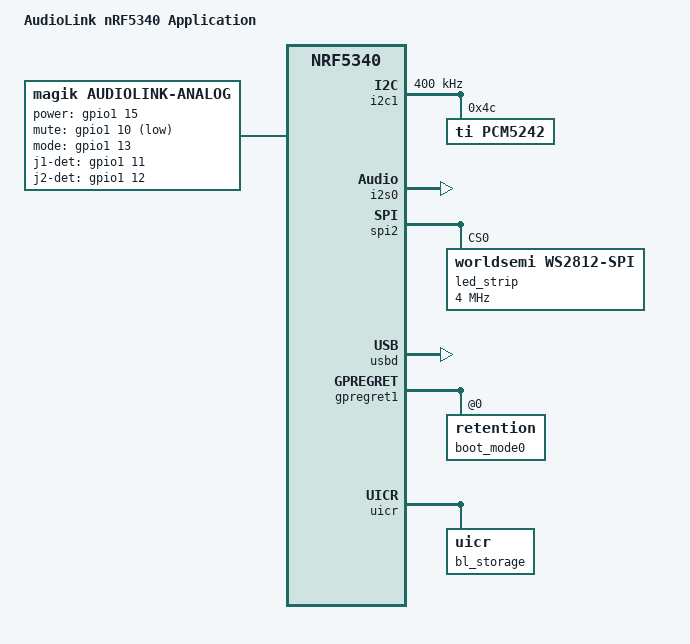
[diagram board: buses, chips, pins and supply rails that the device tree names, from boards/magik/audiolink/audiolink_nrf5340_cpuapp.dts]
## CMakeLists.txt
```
cmake_minimum_required(VERSION 3.20.0)

find_package(Zephyr REQUIRED HINTS $ENV{ZEPHYR_BASE})
project(audiolink)

target_sources(app PRIVATE
  src/audio_out.c
  src/control.c
  src/dac.c
  src/eq.c
  src/lc3_rx.c
  src/le_audio.c
  src/leds.c
  src/main.c
  src/test_signal.c
  src/usb_audio.c
)
```

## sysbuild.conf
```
SB_CONFIG_NETCORE_IPC_RADIO=y
SB_CONFIG_NETCORE_IPC_RADIO_BT_HCI_IPC=y

# MCUboot updates both cores. The network core image is staged in slot3 and
# copied over by MCUboot, which only works in overwrite mode, so there is no
# rollback to the previous image.
SB_CONFIG_BOOTLOADER_MCUBOOT=y
SB_CONFIG_MCUBOOT_MODE_OVERWRITE_ONLY=y
SB_CONFIG_SECURE_BOOT_NETCORE=y
SB_CONFIG_NETCORE_APP_UPDATE=y
SB_CONFIG_MCUBOOT_NRF53_MULTI_IMAGE_UPDATE=y

# Keys are not in git, see `just keys`
SB_CONFIG_BOOT_SIGNATURE_TYPE_ECDSA_P256=y
SB_CONFIG_BOOT_SIGNATURE_KEY_FILE="${APP_DIR}/keys/mcuboot-p256.pem"
SB_CONFIG_SECURE_BOOT_SIGNING_KEY_FILE="keys/b0n-p256.pem"
```

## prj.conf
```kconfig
CONFIG_GPIO=y
CONFIG_I2C=y
CONFIG_I2S=y
CONFIG_LED_STRIP=y
CONFIG_RING_BUFFER=y

CONFIG_MAIN_STACK_SIZE=2048

# The board has no UART, logs go out over SWD (J4)
CONFIG_UART_CONSOLE=n
CONFIG_USE_SEGGER_RTT=y
CONFIG_CONSOLE=y
CONFIG_RTT_CONSOLE=y
CONFIG_LOG=y
CONFIG_LOG_BACKEND_RTT=y
CONFIG_SEGGER_RTT_BUFFER_SIZE_UP=4096

CONFIG_HWINFO=y
CONFIG_USB_DEVICE_STACK_NEXT=y
CONFIG_USBD_AUDIO2_CLASS=y
CONFIG_USBD_LOG_LEVEL_WRN=y
CONFIG_UDC_DRIVER_LOG_LEVEL_WRN=y

CONFIG_FPU=y
CONFIG_FPU_SHARING=y
CONFIG_LIBLC3=y

# Bonds survive a power cycle
CONFIG_FLASH=y
CONFIG_FLASH_MAP=y
CONFIG_NVS=y
CONFIG_SETTINGS=y
CONFIG_BT_SETTINGS=y

CONFIG_BT=y
CONFIG_BT_DEVICE_NAME="AudioLink"
CONFIG_BT_PERIPHERAL=y
CONFIG_BT_OBSERVER=y
CONFIG_BT_EXT_ADV=y
CONFIG_BT_PER_ADV_SYNC=y
CONFIG_BT_PER_ADV_SYNC_TRANSFER_RECEIVER=y
CONFIG_BT_ISO_PERIPHERAL=y
CONFIG_BT_ISO_SYNC_RECEIVER=y
CONFIG_BT_SMP=y
CONFIG_BT_KEYS_OVERWRITE_OLDEST=y
# There is no UI to delete a bond, so a phone that forgot us must be able to pair again
CONFIG_BT_SMP_ALLOW_UNAUTH_OVERWRITE=y
CONFIG_BT_GATT_DYNAMIC_DB=y
CONFIG_BT_GATT_CLIENT=y
# Long writes of ASE configs with 64-byte codec data and metadata
CONFIG_BT_ATT_PREPARE_COUNT=5
CONFIG_BT_BUF_EVT_RX_SIZE=255
# Sized for MCUmgr uploads with the largest ATT MTU
CONFIG_BT_BUF_ACL_RX_SIZE=502
CONFIG_BT_BUF_ACL_TX_SIZE=502
CONFIG_BT_L2CAP_TX_MTU=498
# Phones rarely ask for 2M themselves, it roughly doubles the firmware upload speed
CONFIG_BT_AUTO_PHY_PERIPHERAL_2M=y
CONFIG_BT_BUF_CMD_TX_SIZE=255
# Same as BT_BAP_CONN_PARAM_RELAXED
CONFIG_BT_GAP_AUTO_UPDATE_CONN_PARAMS=n
CONFIG_BT_PERIPHERAL_PREF_MIN_INT=50
CONFIG_BT_PERIPHERAL_PREF_MAX_INT=70
CONFIG_BT_PERIPHERAL_PREF_LATENCY=0
CONFIG_BT_PERIPHERAL_PREF_TIMEOUT=400

CONFIG_UTF8=y
CONFIG_BT_AUDIO=y
CONFIG_BT_PAC_SNK=y
CONFIG_BT_PAC_SNK_LOC=y
CONFIG_BT_BAP_UNICAST_SERVER=y
CONFIG_BT_ASCS=y
CONFIG_BT_ASCS_MAX_ASE_SNK_COUNT=2
CONFIG_BT_ASCS_MAX_ASE_SRC_COUNT=0
CONFIG_BT_BAP_BROADCAST_SINK=y
CONFIG_BT_BAP_SCAN_DELEGATOR=y
CONFIG_BT_BAP_BROADCAST_SNK_STREAM_COUNT=2
CONFIG_BT_BAP_BROADCAST_SNK_SUBGROUP_COUNT=2
CONFIG_BT_BAP_BASS_MAX_SUBGROUPS=2
CONFIG_BT_VCP_VOL_REND=y
CONFIG_BT_ISO_MAX_CHAN=2
# 4 SDUs in flight per stream, the LC3 decoder holds on to them
CONFIG_BT_ISO_RX_BUF_COUNT=8
CONFIG_BT_AUDIO_CODEC_CFG_MAX_METADATA_SIZE=64
CONFIG_BT_AUDIO_CODEC_CFG_MAX_DATA_SIZE=64
CONFIG_BT_AUDIO_CODEC_CAP_MAX_METADATA_SIZE=64
CONFIG_BT_AUDIO_CODEC_CAP_MAX_DATA_SIZE=64

# Firmware updates over Bluetooth (SMP), only from a paired phone
CONFIG_MCUMGR=y
CONFIG_NET_BUF=y
CONFIG_ZCBOR=y
CONFIG_CRC=y
CONFIG_STREAM_FLASH=y
CONFIG_IMG_MANAGER=y
CONFIG_MCUMGR_GRP_IMG=y
CONFIG_MCUMGR_GRP_OS=y
CONFIG_MCUMGR_TRANSPORT_BT=y
CONFIG_MCUMGR_TRANSPORT_BT_PERM_RW_ENCRYPT=y
CONFIG_MCUMGR_TRANSPORT_BT_CONN_PARAM_CONTROL=y
CONFIG_MCUMGR_TRANSPORT_BT_REASSEMBLY=y
CONFIG_MCUMGR_TRANSPORT_NETBUF_SIZE=2475
# The app keeps NETBUF_COUNT - 2 upload requests in flight
CONFIG_MCUMGR_TRANSPORT_NETBUF_COUNT=6
# Erasing the whole slot on the first upload request stalls the transfer for seconds
CONFIG_IMG_ERASE_PROGRESSIVELY=y
CONFIG_MCUMGR_GRP_OS_MCUMGR_PARAMS=y
CONFIG_MCUMGR_TRANSPORT_WORKQUEUE_STACK_SIZE=4608
CONFIG_SYSTEM_WORKQUEUE_STACK_SIZE=2304

# Firmware updates over USB, SMP on a CDC ACM serial port next to the audio function
CONFIG_SERIAL=y
CONFIG_BASE64=y
CONFIG_UART_MCUMGR=y
CONFIG_MCUMGR_TRANSPORT_UART=y
# Lets the reset command restart into the USB recovery mode of MCUboot
CONFIG_RETAINED_MEM=y
CONFIG_RETENTION=y
CONFIG_RETENTION_BOOT_MODE=y
CONFIG_MCUMGR_GRP_OS_RESET_BOOT_MODE=y
# MCUboot refuses downgrades, see sysbuild/mcuboot.conf
CONFIG_MCUBOOT_BOOTLOADER_NO_DOWNGRADE=y
```

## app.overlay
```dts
#include <zephyr/dt-bindings/usb/audio.h>

/ {
	uac2_out: usb_audio2 {
		compatible = "zephyr,uac2";
		status = "okay";
		full-speed;
		audio-function = <AUDIO_FUNCTION_CONVERTER>;

		uac_aclk: aclk {
			compatible = "zephyr,uac2-clock-source";
			clock-type = "internal-programmable";
			frequency-control = "host-programmable";
			sampling-frequencies = <48000>;
		};

		usb_in: usb_in {
			compatible = "zephyr,uac2-input-terminal";
			clock-source = <&uac_aclk>;
			terminal-type = <USB_TERMINAL_STREAMING>;
			front-left;
			front-right;
		};

		line_out: line_out {
			compatible = "zephyr,uac2-output-terminal";
			data-source = <&usb_in>;
			clock-source = <&uac_aclk>;
			terminal-type = <EXTERNAL_TERMINAL_LINE_CONNECTOR>;
		};

		as_out: as_out {
			compatible = "zephyr,uac2-audio-streaming";
			linked-terminal = <&usb_in>;
			subslot-size = <2>;
			bit-resolution = <16>;
		};
	};
};

/ {
	chosen {
		zephyr,uart-mcumgr = &cdc_acm_uart0;
	};
};

&zephyr_udc0 {
	cdc_acm_uart0: cdc_acm_uart0 {
		compatible = "zephyr,cdc-acm-uart";
	};
};
```

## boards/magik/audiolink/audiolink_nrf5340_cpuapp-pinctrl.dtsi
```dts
&pinctrl {
	i2c1_default: i2c1_default {
		group1 {
			psels = <NRF_PSEL(TWIM_SDA, 1, 2)>,
				<NRF_PSEL(TWIM_SCL, 1, 3)>;
		};
	};

	i2c1_sleep: i2c1_sleep {
		group1 {
			psels = <NRF_PSEL(TWIM_SDA, 1, 2)>,
				<NRF_PSEL(TWIM_SCL, 1, 3)>;
			low-power-enable;
		};
	};

	/* No MCK: R6 is not fitted, the PCM5242 derives its clocks from BCK. */
	i2s0_default: i2s0_default {
		group1 {
			psels = <NRF_PSEL(I2S_SCK_M, 0, 9)>,
				<NRF_PSEL(I2S_LRCK_M, 1, 4)>,
				<NRF_PSEL(I2S_SDOUT, 1, 6)>;
		};
	};

	i2s0_sleep: i2s0_sleep {
		group1 {
			psels = <NRF_PSEL(I2S_SCK_M, 0, 9)>,
				<NRF_PSEL(I2S_LRCK_M, 1, 4)>,
				<NRF_PSEL(I2S_SDOUT, 1, 6)>;
			low-power-enable;
		};
	};

	/*
	 * WS2812 data only. The SPIM still needs an SCK pin to complete transfers,
	 * so it gets P0.08, which is not connected on the board.
	 */
	spi2_default: spi2_default {
		group1 {
			psels = <NRF_PSEL(SPIM_SCK, 0, 8)>,
				<NRF_PSEL(SPIM_MOSI, 1, 14)>;
		};
	};

	spi2_sleep: spi2_sleep {
		group1 {
			psels = <NRF_PSEL(SPIM_SCK, 0, 8)>,
				<NRF_PSEL(SPIM_MOSI, 1, 14)>;
			low-power-enable;
		};
	};
};
```

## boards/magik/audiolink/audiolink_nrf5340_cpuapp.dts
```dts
/dts-v1/;
#include <nordic/nrf5340_cpuapp_qkaa.dtsi>
#include <zephyr/dt-bindings/led/led.h>
#include "audiolink_nrf5340_cpuapp-pinctrl.dtsi"

/ {
	model = "AudioLink nRF5340 Application";
	compatible = "magik,audiolink-nrf5340-cpuapp";

	chosen {
		zephyr,sram = &sram0_image;
		zephyr,flash = &flash0;
		zephyr,code-partition = &slot0_partition;
		zephyr,sram-secure-partition = &sram0_s;
		zephyr,sram-non-secure-partition = &sram0_ns;
		zephyr,bt-hci = &bt_hci_ipc0;
		zephyr,boot-mode = &boot_mode0;
	};

	/*
	 * J1/J2 detect: the NRJ6HM-1 sleeve-normal contact shorts SN to the grounded
	 * sleeve until a plug is inserted, after which R12/R13 pull it high.
	 */
	analog: analog {
		compatible = "magik,audiolink-analog";
		power-gpios = <&gpio1 15 GPIO_ACTIVE_HIGH>;
		mute-gpios = <&gpio1 10 GPIO_ACTIVE_LOW>;
		mode-gpios = <&gpio1 13 GPIO_ACTIVE_HIGH>;
		j1-det-gpios = <&gpio1 11 GPIO_ACTIVE_HIGH>;
		j2-det-gpios = <&gpio1 12 GPIO_ACTIVE_HIGH>;
	};

	aliases {
		led-strip = &led_strip;
	};
};

&vregmain {
	regulator-initial-mode = <NRF5X_REG_MODE_LDO>;
};

&vregradio {
	regulator-initial-mode = <NRF5X_REG_MODE_LDO>;
};

/* VDDH is tied to VDD, so the high voltage regulator is not used. */
&vregh {
	status = "disabled";
};

/* Y1 has its own 7 pF load capacitors (C15/C16). */
&lfxo {
	load-capacitors = "external";
};

&clock {
	hfclkaudio-frequency = <12288000>;
};

&gpiote {
	status = "okay";
};

&gpio0 {
	status = "okay";
};

&gpio1 {
	status = "okay";
};

&i2c1 {
	compatible = "nordic,nrf-twim";
	status = "okay";
	clock-frequency = <I2C_BITRATE_FAST>;
	pinctrl-0 = <&i2c1_default>;
	pinctrl-1 = <&i2c1_sleep>;
	pinctrl-names = "default", "sleep";

	/* ADR1 and ADR2 strapped low */
	pcm5242: pcm5242@4c {
		compatible = "ti,pcm5242";
		reg = <0x4c>;
	};
};

&i2s0 {
	status = "okay";
	pinctrl-0 = <&i2s0_default>;
	pinctrl-1 = <&i2s0_sleep>;
	pinctrl-names = "default", "sleep";
	clock-source = "ACLK";
};

/*
 * At 4 MHz one SPI bit is 250 ns, so each WS2812 bit is sent as a 4-bit symbol:
 * 0b1000 = 0.25 us high (zero), 0b1110 = 0.75 us high (one).
 */
&spi2 {
	compatible = "nordic,nrf-spim";
	status = "okay";
	pinctrl-0 = <&spi2_default>;
	pinctrl-1 = <&spi2_sleep>;
	pinctrl-names = "default", "sleep";

	led_strip: ws2812@0 {
		compatible = "worldsemi,ws2812-spi";
		reg = <0>;
		spi-max-frequency = <4000000>;
		chain-length = <4>;
		color-mapping = <LED_COLOR_ID_GREEN
				 LED_COLOR_ID_RED
				 LED_COLOR_ID_BLUE>;
		spi-one-frame = <0x70>;
		spi-zero-frame = <0x40>;
	};
};

zephyr_udc0: &usbd {
	compatible = "nordic,nrf-usbd";
	status = "okay";
};

/*
 * No external flash, so the network core update is staged in slot3 next to the
 * two application slots.
 */
&flash0 {
	partitions {
		ranges;
		#address-cells = <1>;
		#size-cells = <1>;

		boot_partition: partition@0 {
			compatible = "zephyr,mapped-partition";
			label = "mcuboot";
			reg = <0x00000000 DT_SIZE_K(64)>;
		};

		slot0_partition: partition@10000 {
			compatible = "zephyr,mapped-partition";
			label = "image-0";
			reg = <0x00010000 DT_SIZE_K(352)>;
		};

		slot1_partition: partition@68000 {
			compatible = "zephyr,mapped-partition";
			label = "image-1";
			reg = <0x00068000 DT_SIZE_K(352)>;
		};

		slot3_partition: partition@c0000 {
			compatible = "zephyr,mapped-partition";
			label = "image-3";
			reg = <0x000c0000 DT_SIZE_K(224)>;
		};

		storage_partition: partition@f8000 {
			compatible = "zephyr,mapped-partition";
			label = "storage";
			reg = <0x000f8000 DT_SIZE_K(32)>;
		};
	};
};

/* Survives a soft reset, so the application can tell MCUboot to stay in USB recovery mode */
&gpregret1 {
	status = "okay";

	boot_mode0: boot_mode@0 {
		compatible = "zephyr,retention";
		status = "okay";
		reg = <0x0 0x1>;
	};
};

&uicr {
	bl_storage: uicr@100 {
		reg = <0x100 0x280>;
	};
};

#include <nordic/nrf5340_sram_partition.dtsi>
#include <nordic/nrf5340_shared_sram_partition.dtsi>
```

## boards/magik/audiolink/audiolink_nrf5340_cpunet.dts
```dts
/dts-v1/;
#include <nordic/nrf5340_cpunet_qkaa.dtsi>

/ {
	model = "AudioLink nRF5340 Network";
	compatible = "magik,audiolink-nrf5340-cpunet";

	chosen {
		zephyr,bt-hci-ipc = &ipc0;
		zephyr,sram = &sram1;
		zephyr,flash = &flash1;
		zephyr,code-partition = &s0_partition;
	};
};

&gpiote {
	status = "okay";
};

/* b0n verifies and boots the controller image in s0 */
&flash1 {
	partitions {
		#address-cells = <1>;
		#size-cells = <1>;
		ranges;

		b0n_partition: partition@0 {
			compatible = "zephyr,mapped-partition";
			label = "b0n";
			reg = <0x00000000 0x8580>;
		};

		bl_storage: provision_partition: partition@8580 {
			compatible = "zephyr,mapped-partition";
			label = "b0-provision-data";
			reg = <0x00008580 0x280>;
		};

		s0_partition: partition@8800 {
			compatible = "zephyr,mapped-partition";
			label = "image-0";
			reg = <0x00008800 DT_SIZE_K(222)>;
		};
	};
};

#include <nordic/nrf5340_shared_sram_partition.dtsi>
```

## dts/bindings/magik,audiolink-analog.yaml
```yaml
description: AudioLink analog output stage control and jack detect lines

compatible: "magik,audiolink-analog"

properties:
  power-gpios:
    type: phandle-array
    required: true
    description: Enables the +/-5V_A and 3V3_A rails

  mute-gpios:
    type: phandle-array
    required: true
    description: PCM5242 XSMT soft mute

  mode-gpios:
    type: phandle-array
    required: true
    description: |
      DG419 select. Inactive routes OUTLN to the J1 ring (balanced),
      active routes OUTRP to it (stereo on J1).

  j1-det-gpios:
    type: phandle-array
    required: true

  j2-det-gpios:
    type: phandle-array
    required: true
```

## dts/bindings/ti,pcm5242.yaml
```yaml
description: TI PCM5242 stereo DAC, controlled over I2C

compatible: "ti,pcm5242"

include: i2c-device.yaml
```

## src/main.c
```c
#include <math.h>

#include <zephyr/drivers/gpio.h>
#include <zephyr/kernel.h>
#include <zephyr/logging/log.h>

#include <nrfx_clock.h>

#include "audio_out.h"
#include "dac.h"
#include "le_audio.h"
#include "leds.h"
#include "usb_audio.h"

LOG_MODULE_REGISTER(main, LOG_LEVEL_INF);

#define POLL_MS         20
#define DEBOUNCE_POLLS  3
/* PCM5242 soft mute ramp, so the DG419 switches on silence */
#define MUTE_RAMP_MS    20

/* LED brightness follows the output level in dB, so quiet passages still show */
#define LEVEL_FLOOR_DB  -48.0f
/* Per poll, about 50 dB/s, so the LEDs fade like a VU meter instead of flickering */
#define LEVEL_FALL_DB   1.0f

#define ANALOG DT_NODELABEL(analog)

static const struct gpio_dt_spec mode = GPIO_DT_SPEC_GET(ANALOG, mode_gpios);
static const struct gpio_dt_spec j1_det = GPIO_DT_SPEC_GET(ANALOG, j1_det_gpios);
static const struct gpio_dt_spec j2_det = GPIO_DT_SPEC_GET(ANALOG, j2_det_gpios);

struct jack {
	const struct gpio_dt_spec *det;
	bool inserted;
	int stable_polls;
};

static struct jack j1 = {.det = &j1_det};
static struct jack j2 = {.det = &j2_det};

/* Returns true when the debounced state changed */
static bool jack_poll(struct jack *j)
{
	bool now = gpio_pin_get_dt(j->det) > 0;

	if (now == j->inserted) {
		j->stable_polls = 0;
		return false;
	}

	if (++j->stable_polls < DEBOUNCE_POLLS) {
		return false;
	}

	j->inserted = now;
	j->stable_polls = 0;

	return true;
}

/*
 * With J2 plugged both jacks are balanced outputs, J1 = left, J2 = right.
 * Otherwise J1 carries stereo: tip = left, ring = right.
 */
static void apply_mode(bool balanced)
{
	LOG_INF("Output mode: %s", balanced ? "balanced L/R" : "stereo on J1");

	dac_mute(true);
	k_sleep(K_MSEC(MUTE_RAMP_MS));

	gpio_pin_set_dt(&mode, !balanced);
	/* J2 is wired tip = OUTRN, so the right channel is inverted to keep tip hot */
	audio_out_set_invert_right(balanced);

	dac_mute(false);
}

static uint8_t level_brightness(void)
{
	static float level_db = LEVEL_FLOOR_DB;
	uint32_t peak = audio_out_take_peak();
	float db = peak > 0 ? 20.0f * log10f(peak / 32768.0f) : LEVEL_FLOOR_DB;

	level_db = MAX(MAX(db, LEVEL_FLOOR_DB), level_db - LEVEL_FALL_DB);

	/*
	 * Exponential, since the eye sees equal brightness ratios as equal steps. Offset by one so
	 * the curve can start at zero, which a pure ratio cannot.
	 */
	return powf(leds_max_level() + 1, (level_db - LEVEL_FLOOR_DB) / -LEVEL_FLOOR_DB) - 0.5f;
}

/* USB has no volume control in Zephyr's UAC2 class, the host scales the samples */
static void update_volume(void)
{
	static int applied = -1;
	int vol = audio_out_source() == AUDIO_SRC_BLE ? le_audio_volume() : 255;

	if (vol != applied && dac_set_volume(vol) == 0) {
		applied = vol;
	}
}

static int io_init(void)
{
	int err;

	if (!gpio_is_ready_dt(&mode) || !gpio_is_ready_dt(&j1_det) ||
	    !gpio_is_ready_dt(&j2_det)) {
		return -ENODEV;
	}

	err = gpio_pin_configure_dt(&mode, GPIO_OUTPUT_INACTIVE);
	if (err) {
		return err;
	}

	err = gpio_pin_configure_dt(&j1_det, GPIO_INPUT);
	if (err) {
		return err;
	}

	err = gpio_pin_configure_dt(&j2_det, GPIO_INPUT);
	if (err) {
		return err;
	}

	j1.inserted = gpio_pin_get_dt(&j1_det) > 0;
	j2.inserted = gpio_pin_get_dt(&j2_det) > 0;

	return 0;
}

int main(void)
{
	int err;

	/* LC3 decoding needs the application core at 128 MHz */
	err = nrfx_clock_divider_set(NRF_CLOCK_DOMAIN_HFCLK, NRF_CLOCK_HFCLK_DIV_1);
	if (err) {
		LOG_ERR("HFCLK divider failed (%d)", err);
	}

	err = leds_init();
	if (err) {
		LOG_ERR("LED init failed (%d)", err);
	}

	err = io_init();
	if (err) {
		LOG_ERR("IO init failed (%d)", err);
		return 0;
	}

	/* I2S has to be running first, the PCM5242 PLL locks to BCK */
	err = audio_out_init();
	if (err) {
		LOG_ERR("Audio out init failed (%d)", err);
		return 0;
	}

	err = dac_init();
	if (err) {
		LOG_ERR("DAC init failed (%d)", err);
		return 0;
	}

	apply_mode(j2.inserted);

	err = usb_audio_init();
	if (err) {
		LOG_ERR("USB init failed (%d)", err);
	}

	err = le_audio_init();
	if (err) {
		LOG_ERR("LE Audio init failed (%d)", err);
	}

	for (;;) {
		bool changed = jack_poll(&j1);

		if (jack_poll(&j2)) {
			apply_mode(j2.inserted);
			changed = true;
		}

		if (changed) {
			LOG_INF("J1 %s, J2 %s", j1.inserted ? "in" : "out",
				j2.inserted ? "in" : "out");
		}

		update_volume();
		dac_poll_status();

		leds_set_brightness(level_brightness());
		for (enum led led = 0; led < LED_COUNT; led++) {
			leds_set(led, leds_color(led));
		}

		k_sleep(K_MSEC(POLL_MS));
	}

	return 0;
}
```

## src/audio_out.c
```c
#include "audio_out.h"

#include <stdlib.h>

#include <zephyr/drivers/i2s.h>
#include <zephyr/kernel.h>
#include <zephyr/logging/log.h>
#include <zephyr/sys/atomic.h>
#include <zephyr/sys/ring_buffer.h>
#include <zephyr/sys/util.h>

#include <hal/nrf_clock.h>

#include "eq.h"
#include "test_signal.h"

LOG_MODULE_REGISTER(audio_out, LOG_LEVEL_INF);

#define CHANNELS     2
#define BLOCK_FRAMES (AUDIO_OUT_RATE_HZ / 1000)
/*
 * 32-bit I2S words give BCK = 64 fs, a ratio the PCM5242 PLL locks to
 * reliably when BCK is its only clock.
 */
#define BLOCK_BYTES  (BLOCK_FRAMES * CHANNELS * sizeof(int32_t))
#define FRAME_BYTES  (CHANNELS * sizeof(int16_t))
#define RING_FRAMES  4096
#define MS_TO_FRAMES(ms) ((ms) * BLOCK_FRAMES)

/* HFCLKAUDIO FREQ_VALUE for 12.288 MHz, one step is about 3.3 ppm */
#define ACLK_CENTER    0x9BA6
#define ACLK_MAX_STEPS 150
#define DRIFT_PERIOD_BLOCKS 100

K_MEM_SLAB_DEFINE_STATIC(tx_slab, BLOCK_BYTES, CONFIG_I2S_NRFX_TX_BLOCK_COUNT, 4);
RING_BUF_DECLARE(ring, RING_FRAMES * FRAME_BYTES);
static struct k_spinlock ring_lock;

static const struct device *const i2s = DEVICE_DT_GET(DT_NODELABEL(i2s0));

static atomic_t requested;
static atomic_t active_src;
static atomic_t invert_right;
static atomic_t peak;
static bool playing;

/* Fill level (frames) the stream starts at and drift compensation aims for */
static const size_t start_level[] = {
	/* Matches the 3 SOF delay of the Zephyr UAC2 explicit feedback sample */
	[AUDIO_SRC_USB] = MS_TO_FRAMES(3),
	/* Two 10 ms LC3 frames plus scheduling headroom */
	[AUDIO_SRC_BLE] = MS_TO_FRAMES(30),
};

struct drift {
	int64_t fill_sum;
	int32_t integral;
	int blocks;
};

static struct drift drift;

static void aclk_set(int32_t steps)
{
	steps = CLAMP(steps, -ACLK_MAX_STEPS, ACLK_MAX_STEPS);
	nrf_clock_hfclkaudio_config_set(NRF_CLOCK, ACLK_CENTER + steps);
}

static void ring_flush(void)
{
	K_SPINLOCK(&ring_lock) {
		ring_buf_reset(&ring);
	}
}

size_t audio_out_fill(void)
{
	size_t bytes;

	K_SPINLOCK(&ring_lock) {
		bytes = ring_buf_size_get(&ring);
	}

	return bytes / FRAME_BYTES;
}

size_t audio_out_start_level(enum audio_src src)
{
	return start_level[src];
}

static void select_source(void)
{
	enum audio_src src = AUDIO_SRC_NONE;
	atomic_val_t req = atomic_get(&requested);

	for (int i = AUDIO_SRC_TEST; i > AUDIO_SRC_NONE; i--) {
		if (req & BIT(i)) {
			src = i;
			break;
		}
	}

	atomic_set(&active_src, src);
}

void audio_out_request(enum audio_src src, bool active)
{
	if (active) {
		atomic_or(&requested, BIT(src));
	} else {
		atomic_and(&requested, ~BIT(src));
	}

	select_source();
}

enum audio_src audio_out_source(void)
{
	return atomic_get(&active_src);
}

void audio_out_set_invert_right(bool invert)
{
	atomic_set(&invert_right, invert);
}

size_t audio_out_write(enum audio_src src, const int16_t *frames, size_t count)
{
	size_t bytes;

	if (src != audio_out_source()) {
		return 0;
	}

	K_SPINLOCK(&ring_lock) {
		bytes = ring_buf_put(&ring, (const uint8_t *)frames, count * FRAME_BYTES);
	}

	if (bytes < count * FRAME_BYTES) {
		LOG_WRN("Overflow, dropped %u frames", count - bytes / FRAME_BYTES);
	}

	return bytes / FRAME_BYTES;
}

/*
 * The BLE source runs on the remote clock, so the local audio clock is steered
 * to keep the ring fill at its start level. A PI loop on the 100 ms average
 * absorbs the 10 ms bursts of LC3 frames.
 */
static void drift_update(size_t fill)
{
	int32_t err;

	drift.fill_sum += fill;
	if (++drift.blocks < DRIFT_PERIOD_BLOCKS) {
		return;
	}

	err = (int32_t)(drift.fill_sum / drift.blocks) - start_level[AUDIO_SRC_BLE];
	drift.fill_sum = 0;
	drift.blocks = 0;
	drift.integral = CLAMP(drift.integral + err, -ACLK_MAX_STEPS * 32,
			       ACLK_MAX_STEPS * 32);

	/* More queued audio than wanted means the local clock is slow, speed it up */
	aclk_set(err / 2 + drift.integral / 32);
}

uint32_t audio_out_take_peak(void)
{
	return atomic_clear(&peak);
}

static void peak_update(const int32_t *samples)
{
	uint32_t max = 0;

	for (size_t i = 0; i < BLOCK_FRAMES * CHANNELS; i++) {
		max = MAX(max, (uint32_t)abs(samples[i] / 65536));
	}

	/* Only this thread raises it, a clear in between just loses one block */
	if (max > (uint32_t)atomic_get(&peak)) {
		atomic_set(&peak, max);
	}
}

static int16_t negate(int16_t s)
{
	return s == INT16_MIN ? INT16_MAX : -s;
}

static void fill_block(int32_t *out)
{
	int16_t pcm[BLOCK_FRAMES * CHANNELS] = {0};
	static enum audio_src last_src;
	enum audio_src src = audio_out_source();
	bool invert = atomic_get(&invert_right);
	size_t fill;

	if (src != last_src) {
		LOG_INF("Source %d", src);
		last_src = src;
		ring_flush();
		playing = false;
		drift = (struct drift){0};
		aclk_set(0);
	}

	fill = audio_out_fill();

	if (src == AUDIO_SRC_NONE) {
		playing = false;
	} else if (src == AUDIO_SRC_TEST) {
		playing = false;
		test_signal_fill(pcm, BLOCK_FRAMES);
	} else if (!playing && fill >= start_level[src]) {
		playing = true;
	}

	if (playing) {
		size_t bytes;

		K_SPINLOCK(&ring_lock) {
			bytes = ring_buf_get(&ring, (uint8_t *)pcm, sizeof(pcm));
		}

		if (bytes < sizeof(pcm)) {
			LOG_DBG("Underrun");
			playing = false;
			drift.fill_sum = 0;
			drift.blocks = 0;
		} else if (src == AUDIO_SRC_BLE) {
			drift_update(fill);
		}
	}

	for (size_t i = 0; i < BLOCK_FRAMES; i++) {
		int16_t right = pcm[2 * i + 1];

		out[2 * i] = (int32_t)pcm[2 * i] * 65536;
		out[2 * i + 1] = (int32_t)(invert ? negate(right) : right) * 65536;
	}

	eq_process(out, BLOCK_FRAMES);
	peak_update(out);
}

static int queue_block(void)
{
	void *block;
	int err;

	err = k_mem_slab_alloc(&tx_slab, &block, K_FOREVER);
	if (err) {
		return err;
	}

	fill_block(block);

	err = i2s_write(i2s, block, BLOCK_BYTES);
	if (err) {
		k_mem_slab_free(&tx_slab, block);
	}

	return err;
}

static int i2s_start(void)
{
	int err;

	/* The driver needs two blocks queued before it can start */
	for (int i = 0; i < 2; i++) {
		err = queue_block();
		if (err) {
			return err;
		}
	}

	return i2s_trigger(i2s, I2S_DIR_TX, I2S_TRIGGER_START);
}

static void feeder_thread(void *p1, void *p2, void *p3)
{
	for (;;) {
		int err = queue_block();

		if (err) {
			LOG_WRN("I2S write failed (%d), restarting", err);
			/*
			 * After an underrun the driver has stopped the transfer itself. DROP
			 * would stop it a second time and trip an assertion in nrfx.
			 */
			i2s_trigger(i2s, I2S_DIR_TX, I2S_TRIGGER_PREPARE);
			err = i2s_start();
			if (err) {
				LOG_ERR("I2S restart failed (%d)", err);
				/* Not running, so this only frees the blocks queued for the start */
				i2s_trigger(i2s, I2S_DIR_TX, I2S_TRIGGER_DROP);
				k_sleep(K_MSEC(100));
			}
		}
	}
}

K_THREAD_STACK_DEFINE(feeder_stack, 1024);
static struct k_thread feeder;

int audio_out_init(void)
{
	struct i2s_config cfg = {
		.word_size = 32,
		.channels = CHANNELS,
		.format = I2S_FMT_DATA_FORMAT_I2S,
		.options = I2S_OPT_BIT_CLK_CONTROLLER | I2S_OPT_FRAME_CLK_CONTROLLER,
		.frame_clk_freq = AUDIO_OUT_RATE_HZ,
		.mem_slab = &tx_slab,
		.block_size = BLOCK_BYTES,
		.timeout = SYS_FOREVER_MS,
	};
	int err;

	if (!device_is_ready(i2s)) {
		return -ENODEV;
	}

	err = i2s_configure(i2s, I2S_DIR_TX, &cfg);
	if (err) {
		LOG_ERR("I2S configure failed (%d)", err);
		return err;
	}

	err = i2s_start();
	if (err) {
		LOG_ERR("I2S start failed (%d)", err);
		return err;
	}

	k_thread_create(&feeder, feeder_stack, K_THREAD_STACK_SIZEOF(feeder_stack),
			feeder_thread, NULL, NULL, NULL, K_PRIO_COOP(2), 0, K_NO_WAIT);
	k_thread_name_set(&feeder, "audio_out");

	return 0;
}
```

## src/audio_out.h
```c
#ifndef AUDIO_OUT_H_
#define AUDIO_OUT_H_

#include <stdbool.h>
#include <stddef.h>
#include <stdint.h>

#define AUDIO_OUT_RATE_HZ 48000

/* Lowest priority first, a higher value wins when several sources are active */
enum audio_src {
	AUDIO_SRC_NONE,
	AUDIO_SRC_BLE,
	AUDIO_SRC_USB,
	/* Generated on the board, overrides the others while the app has test mode on */
	AUDIO_SRC_TEST,
};

int audio_out_init(void);

/* Mark a source as wanting (or no longer wanting) the output */
void audio_out_request(enum audio_src src, bool active);

enum audio_src audio_out_source(void);

/*
 * Queue interleaved 16-bit stereo frames. Frames from a source that is not the
 * active one are dropped. Returns the number of frames queued.
 */
size_t audio_out_write(enum audio_src src, const int16_t *frames, size_t count);

/* Highest absolute sample since the last call, 0 to 32768 */
uint32_t audio_out_take_peak(void);

/* Frames currently queued */
size_t audio_out_fill(void);

/* Fill level a source starts playing at, and the level clock tracking aims for */
size_t audio_out_start_level(enum audio_src src);

/* Negate the right channel, used in balanced mode where J2 is wired tip=OUTRN */
void audio_out_set_invert_right(bool invert);

#endif /* AUDIO_OUT_H_ */
```

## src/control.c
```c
/* Custom Bluetooth service for user settings, only paired phones may read or write them */

#include <string.h>

#include <zephyr/bluetooth/gatt.h>
#include <zephyr/bluetooth/uuid.h>
#include <zephyr/logging/log.h>
#include <zephyr/settings/settings.h>
#include <zephyr/sys/atomic.h>

#include "audio_out.h"
#include "eq.h"
#include "leds.h"

LOG_MODULE_REGISTER(control, LOG_LEVEL_INF);

#define UUID(n) BT_UUID_DECLARE_128(BT_UUID_128_ENCODE(n, 0x7a3c, 0x4f5e, 0x9d2a, 0x3c8f1b6e4a20))

#define SVC_UUID        UUID(0x6b1e0000)
#define GAINS_UUID      UUID(0x6b1e0001)
#define LED_MAX_UUID    UUID(0x6b1e0002)
#define LED_THEME_UUID  UUID(0x6b1e0003)
#define TEST_UUID       UUID(0x6b1e0004)

#define PERM (BT_GATT_PERM_READ_ENCRYPT | BT_GATT_PERM_WRITE_ENCRYPT)

/* A flash write stalls the CPU long enough for a short audio gap */
#define SAVE_DELAY K_SECONDS(2)

enum unsaved {
	UNSAVED_GAINS,
	UNSAVED_LED_MAX,
	UNSAVED_LED_THEME,
	UNSAVED_COUNT,
};

static int8_t gains[EQ_BANDS];
static uint8_t led_max = LEDS_MAX_PERCENT_DEFAULT;
static ATOMIC_DEFINE(unsaved, UNSAVED_COUNT);

static bool gains_valid(const int8_t *val)
{
	for (int i = 0; i < EQ_BANDS; i++) {
		if (val[i] < -EQ_GAIN_MAX_DB || val[i] > EQ_GAIN_MAX_DB) {
			return false;
		}
	}

	return true;
}

static void save(const char *key, const void *val, size_t len)
{
	int err = settings_save_one(key, val, len);

	if (err) {
		LOG_WRN("Saving %s failed (%d)", key, err);
	}
}

static void save_work_handler(struct k_work *work)
{
	uint8_t theme = leds_theme();

	if (atomic_test_and_clear_bit(unsaved, UNSAVED_GAINS)) {
		save("eq/gains", gains, sizeof(gains));
	}

	if (atomic_test_and_clear_bit(unsaved, UNSAVED_LED_MAX)) {
		save("leds/max", &led_max, sizeof(led_max));
	}

	if (atomic_test_and_clear_bit(unsaved, UNSAVED_LED_THEME)) {
		save("leds/theme", &theme, sizeof(theme));
	}
}

static K_WORK_DELAYABLE_DEFINE(save_work, save_work_handler);

/* A slider sends many values, flash is only written once the last one is SAVE_DELAY old */
static void save_later(enum unsaved setting)
{
	atomic_set_bit(unsaved, setting);
	k_work_reschedule(&save_work, SAVE_DELAY);
}

static int eq_settings_set(const char *key, size_t len, settings_read_cb read_cb, void *cb_arg)
{
	int8_t val[EQ_BANDS];

	if (!settings_name_steq(key, "gains", NULL) || len != sizeof(val)) {
		return -ENOENT;
	}

	if (read_cb(cb_arg, val, sizeof(val)) != sizeof(val) || !gains_valid(val)) {
		return -EINVAL;
	}

	memcpy(gains, val, sizeof(gains));
	eq_set_gains(gains);

	return 0;
}

SETTINGS_STATIC_HANDLER_DEFINE(eq, "eq", NULL, eq_settings_set, NULL, NULL);

static int leds_settings_set(const char *key, size_t len, settings_read_cb read_cb, void *cb_arg)
{
	uint8_t val;

	if (len != sizeof(val)) {
		return -ENOENT;
	}

	if (settings_name_steq(key, "theme", NULL)) {
		if (read_cb(cb_arg, &val, sizeof(val)) != sizeof(val) || val >= LEDS_THEME_COUNT) {
			return -EINVAL;
		}

		leds_set_theme(val);

		return 0;
	}

	if (!settings_name_steq(key, "max", NULL)) {
		return -ENOENT;
	}

	if (read_cb(cb_arg, &val, sizeof(val)) != sizeof(val) || val > 100) {
		return -EINVAL;
	}

	led_max = val;
	leds_set_max_percent(led_max);

	return 0;
}

SETTINGS_STATIC_HANDLER_DEFINE(leds, "leds", NULL, leds_settings_set, NULL, NULL);

static ssize_t read_gains(struct bt_conn *conn, const struct bt_gatt_attr *attr, void *buf,
			  uint16_t len, uint16_t offset)
{
	return bt_gatt_attr_read(conn, attr, buf, len, offset, gains, sizeof(gains));
}

static ssize_t write_gains(struct bt_conn *conn, const struct bt_gatt_attr *attr,
			   const void *buf, uint16_t len, uint16_t offset, uint8_t flags)
{
	if (offset != 0) {
		return BT_GATT_ERR(BT_ATT_ERR_INVALID_OFFSET);
	}

	if (len != sizeof(gains)) {
		return BT_GATT_ERR(BT_ATT_ERR_INVALID_ATTRIBUTE_LEN);
	}

	if (!gains_valid(buf)) {
		return BT_GATT_ERR(BT_ATT_ERR_VALUE_NOT_ALLOWED);
	}

	memcpy(gains, buf, sizeof(gains));
	eq_set_gains(gains);
	save_later(UNSAVED_GAINS);

	return len;
}

static ssize_t read_led_max(struct bt_conn *conn, const struct bt_gatt_attr *attr, void *buf,
			    uint16_t len, uint16_t offset)
{
	return bt_gatt_attr_read(conn, attr, buf, len, offset, &led_max, sizeof(led_max));
}

static ssize_t write_led_max(struct bt_conn *conn, const struct bt_gatt_attr *attr,
			     const void *buf, uint16_t len, uint16_t offset, uint8_t flags)
{
	uint8_t val;

	if (offset != 0) {
		return BT_GATT_ERR(BT_ATT_ERR_INVALID_OFFSET);
	}

	if (len != sizeof(val)) {
		return BT_GATT_ERR(BT_ATT_ERR_INVALID_ATTRIBUTE_LEN);
	}

	val = *(const uint8_t *)buf;
	if (val > 100) {
		return BT_GATT_ERR(BT_ATT_ERR_VALUE_NOT_ALLOWED);
	}

	led_max = val;
	leds_set_max_percent(led_max);
	save_later(UNSAVED_LED_MAX);
	LOG_INF("LED max brightness %u%%", led_max);

	return len;
}

static ssize_t read_led_theme(struct bt_conn *conn, const struct bt_gatt_attr *attr, void *buf,
			      uint16_t len, uint16_t offset)
{
	uint8_t theme = leds_theme();

	return bt_gatt_attr_read(conn, attr, buf, len, offset, &theme, sizeof(theme));
}

static ssize_t write_led_theme(struct bt_conn *conn, const struct bt_gatt_attr *attr,
			       const void *buf, uint16_t len, uint16_t offset, uint8_t flags)
{
	uint8_t theme;

	if (offset != 0) {
		return BT_GATT_ERR(BT_ATT_ERR_INVALID_OFFSET);
	}

	if (len != sizeof(theme)) {
		return BT_GATT_ERR(BT_ATT_ERR_INVALID_ATTRIBUTE_LEN);
	}

	theme = *(const uint8_t *)buf;
	if (theme >= LEDS_THEME_COUNT) {
		return BT_GATT_ERR(BT_ATT_ERR_VALUE_NOT_ALLOWED);
	}

	leds_set_theme(theme);
	save_later(UNSAVED_LED_THEME);
	LOG_INF("LED theme %u", theme);

	return len;
}

static ssize_t read_test(struct bt_conn *conn, const struct bt_gatt_attr *attr, void *buf,
			 uint16_t len, uint16_t offset)
{
	uint8_t on = audio_out_source() == AUDIO_SRC_TEST;

	return bt_gatt_attr_read(conn, attr, buf, len, offset, &on, sizeof(on));
}

/* Not saved, so a board left in test mode is back to normal after a restart */
static ssize_t write_test(struct bt_conn *conn, const struct bt_gatt_attr *attr,
			  const void *buf, uint16_t len, uint16_t offset, uint8_t flags)
{
	uint8_t on;

	if (offset != 0) {
		return BT_GATT_ERR(BT_ATT_ERR_INVALID_OFFSET);
	}

	if (len != sizeof(on)) {
		return BT_GATT_ERR(BT_ATT_ERR_INVALID_ATTRIBUTE_LEN);
	}

	on = *(const uint8_t *)buf;
	if (on > 1) {
		return BT_GATT_ERR(BT_ATT_ERR_VALUE_NOT_ALLOWED);
	}

	audio_out_request(AUDIO_SRC_TEST, on);
	LOG_INF("Test mode %s", on ? "on" : "off");

	return len;
}

BT_GATT_SERVICE_DEFINE(control_svc, BT_GATT_PRIMARY_SERVICE(SVC_UUID),
		       BT_GATT_CHARACTERISTIC(GAINS_UUID, BT_GATT_CHRC_READ | BT_GATT_CHRC_WRITE,
					      PERM, read_gains, write_gains, NULL),
		       BT_GATT_CUD("EQ dB: 60 Hz, 250 Hz, 1 kHz, 4 kHz, 12 kHz",
				   BT_GATT_PERM_READ),
		       BT_GATT_CHARACTERISTIC(LED_MAX_UUID, BT_GATT_CHRC_READ | BT_GATT_CHRC_WRITE,
					      PERM, read_led_max, write_led_max, NULL),
		       BT_GATT_CUD("LED max brightness, % of full drive", BT_GATT_PERM_READ),
		       BT_GATT_CHARACTERISTIC(LED_THEME_UUID, BT_GATT_CHRC_READ | BT_GATT_CHRC_WRITE,
					      PERM, read_led_theme, write_led_theme, NULL),
		       BT_GATT_CUD("LED theme: 0 amber/magenta, 1 blue/cyan, 2 green/lime, "
				   "3 amber/yellow",
				   BT_GATT_PERM_READ),
		       BT_GATT_CHARACTERISTIC(TEST_UUID, BT_GATT_CHRC_READ | BT_GATT_CHRC_WRITE,
					      PERM, read_test, write_test, NULL),
		       BT_GATT_CUD("Test mode: 0 off, 1 pink noise bursts with a level sweep",
				   BT_GATT_PERM_READ));
```

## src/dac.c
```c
#include "dac.h"

#include <string.h>

#include <zephyr/drivers/gpio.h>
#include <zephyr/drivers/i2c.h>
#include <zephyr/kernel.h>
#include <zephyr/logging/log.h>

LOG_MODULE_REGISTER(dac, LOG_LEVEL_INF);

/* PCM5242 page 0 registers */
#define REG_PAGE      0x00
#define REG_RESET     0x01
#define REG_POWER     0x02
#define REG_PLL_REF   0x0d
#define REG_ERR_DET   0x25
#define REG_I2S_FMT   0x28
#define REG_VOL_L     0x3d
#define REG_VOL_R     0x3e
#define REG_FS_DET    0x5b
#define REG_CLK_DET   0x5e
#define REG_CLK_ERR   0x5f
#define REG_PWR_STATE 0x76

#define RESET_MODULES BIT(4)
#define RESET_REGS    BIT(0)
#define POWER_STANDBY BIT(4)
#define PLL_REF_BCK   (1 << 4)
/* IDCH, what the Linux pcm512x driver sets when there is no SCK */
#define IGNORE_SCK    BIT(3)
#define I2S_32BIT     0x03

/* Digital volume: 0x30 is 0 dB, each step is -0.5 dB, 0xff mutes */
#define VOL_0DB      0x30
#define VOL_MIN_STEP 120
#define VOL_MUTE     0xff

static const struct i2c_dt_spec i2c = I2C_DT_SPEC_GET(DT_NODELABEL(pcm5242));
static const struct gpio_dt_spec power = GPIO_DT_SPEC_GET(DT_NODELABEL(analog), power_gpios);
static const struct gpio_dt_spec mute = GPIO_DT_SPEC_GET(DT_NODELABEL(analog), mute_gpios);

static int reg_write(uint8_t reg, uint8_t val)
{
	int err = i2c_reg_write_byte_dt(&i2c, reg, val);

	if (err) {
		LOG_ERR("Write 0x%02x failed (%d)", reg, err);
	}

	return err;
}

void dac_mute(bool on)
{
	gpio_pin_set_dt(&mute, on);
}

int dac_set_volume(uint8_t volume)
{
	uint8_t val = volume ? VOL_0DB + (255 - volume) * VOL_MIN_STEP / 255 : VOL_MUTE;
	int err;

	err = reg_write(REG_VOL_L, val);
	if (err) {
		return err;
	}

	return reg_write(REG_VOL_R, val);
}

void dac_poll_status(void)
{
	static const char *const states[] = {
		"powerdown", "wait CP", "calibration 1", "calibration 2", "ramp up",
		"run", "output short", "ramp down", "standby",
	};
	static uint8_t last[4] = {0xff, 0xff, 0xff, 0xff};
	const uint8_t regs[] = {REG_PWR_STATE, REG_FS_DET, REG_CLK_DET, REG_CLK_ERR};
	uint8_t now[ARRAY_SIZE(regs)];
	uint8_t state;

	for (size_t i = 0; i < ARRAY_SIZE(regs); i++) {
		if (i2c_reg_read_byte_dt(&i2c, regs[i], &now[i]) != 0) {
			return;
		}
	}

	if (memcmp(now, last, sizeof(now)) == 0) {
		return;
	}

	memcpy(last, now, sizeof(now));
	state = now[0] & 0x0f;
	LOG_INF("PCM5242 %s, fs detect 0x%02x, clock detect 0x%02x, clock error 0x%02x",
		state < ARRAY_SIZE(states) ? states[state] : "?", now[1], now[2], now[3]);
}

static int configure(void)
{
	static const uint8_t seq[][2] = {
		{REG_PAGE, 0},
		{REG_RESET, RESET_MODULES | RESET_REGS},
		{REG_RESET, 0},
		{REG_POWER, POWER_STANDBY},
		/* SCK is tied to ground, so the PLL runs from BCK */
		{REG_PLL_REF, PLL_REF_BCK},
		{REG_ERR_DET, IGNORE_SCK},
		{REG_I2S_FMT, I2S_32BIT},
		{REG_VOL_L, VOL_0DB},
		{REG_VOL_R, VOL_0DB},
		{REG_POWER, 0},
	};
	int err;

	for (size_t i = 0; i < ARRAY_SIZE(seq); i++) {
		err = reg_write(seq[i][0], seq[i][1]);
		if (err) {
			return err;
		}
	}

	return 0;
}

int dac_init(void)
{
	uint8_t clk_det;
	int err;

	if (!i2c_is_ready_dt(&i2c) || !gpio_is_ready_dt(&power) || !gpio_is_ready_dt(&mute)) {
		return -ENODEV;
	}

	err = gpio_pin_configure_dt(&mute, GPIO_OUTPUT_ACTIVE);
	if (err) {
		return err;
	}

	err = gpio_pin_configure_dt(&power, GPIO_OUTPUT_ACTIVE);
	if (err) {
		return err;
	}

	/* TPS65133 and TLV75533 soft start, plus PCM5242 power-on reset */
	k_sleep(K_MSEC(50));

	err = configure();
	if (err) {
		return err;
	}

	/* Let the PLL lock before reading the clock detection status */
	k_sleep(K_MSEC(10));

	err = i2c_reg_read_byte_dt(&i2c, REG_CLK_DET, &clk_det);
	if (err) {
		return err;
	}

	LOG_INF("PCM5242 ready, clock detection status 0x%02x", clk_det);

	return 0;
}
```

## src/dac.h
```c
#ifndef DAC_H_
#define DAC_H_

#include <stdbool.h>
#include <stdint.h>

/* Powers the analog rails and configures the PCM5242. Leaves the output muted. */
int dac_init(void);

void dac_mute(bool mute);

/* Bluetooth VCS scale: 0 is silent, 255 is 0 dB */
int dac_set_volume(uint8_t volume);

/* Logs the PCM5242 power state and clock status whenever they change */
void dac_poll_status(void);

#endif /* DAC_H_ */
```

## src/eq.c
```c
#include "eq.h"

#include <math.h>
#include <string.h>

#include <zephyr/kernel.h>
#include <zephyr/logging/log.h>
#include <zephyr/sys/util.h>

#include "audio_out.h"

LOG_MODULE_REGISTER(eq, LOG_LEVEL_INF);

#define CHANNELS    2
#define Q           0.707f
/* M_PI is not defined in strict C17 */
#define PI          3.14159265f
/* Largest float below 2^31, INT32_MAX itself rounds up and overflows */
#define SAMPLE_MAX  2147483520.0f

enum band_type {
	LOW_SHELF,
	PEAK,
	HIGH_SHELF,
};

static const struct {
	enum band_type type;
	float freq;
} bands[EQ_BANDS] = {
	{LOW_SHELF, 60}, {PEAK, 250}, {PEAK, 1000}, {PEAK, 4000}, {HIGH_SHELF, 12000},
};

struct coefs {
	float b0, b1, b2, a1, a2;
};

struct eq_cfg {
	struct coefs band[EQ_BANDS];
	bool active;
};

static struct eq_cfg pending;
static bool pending_set;
static struct k_spinlock lock;

/* Owned by the audio_out feeder thread */
static struct eq_cfg cfg;
static float state[CHANNELS][EQ_BANDS][2];

/* Audio EQ Cookbook (R. Bristow-Johnson) */
static struct coefs band_coefs(enum band_type type, float freq, int gain_db)
{
	float a = powf(10.0f, gain_db / 40.0f);
	float w0 = 2.0f * PI * freq / AUDIO_OUT_RATE_HZ;
	float cw = cosf(w0);
	float alpha = sinf(w0) / (2.0f * Q);
	float sa = 2.0f * sqrtf(a) * alpha;
	float b0, b1, b2, a0, a1, a2;

	switch (type) {
	case LOW_SHELF:
		b0 = a * ((a + 1) - (a - 1) * cw + sa);
		b1 = 2 * a * ((a - 1) - (a + 1) * cw);
		b2 = a * ((a + 1) - (a - 1) * cw - sa);
		a0 = (a + 1) + (a - 1) * cw + sa;
		a1 = -2 * ((a - 1) + (a + 1) * cw);
		a2 = (a + 1) + (a - 1) * cw - sa;
		break;
	case HIGH_SHELF:
		b0 = a * ((a + 1) + (a - 1) * cw + sa);
		b1 = -2 * a * ((a - 1) + (a + 1) * cw);
		b2 = a * ((a + 1) + (a - 1) * cw - sa);
		a0 = (a + 1) - (a - 1) * cw + sa;
		a1 = 2 * ((a - 1) - (a + 1) * cw);
		a2 = (a + 1) - (a - 1) * cw - sa;
		break;
	default:
		b0 = 1 + alpha * a;
		b1 = -2 * cw;
		b2 = 1 - alpha * a;
		a0 = 1 + alpha / a;
		a1 = -2 * cw;
		a2 = 1 - alpha / a;
		break;
	}

	return (struct coefs){b0 / a0, b1 / a0, b2 / a0, a1 / a0, a2 / a0};
}

void eq_set_gains(const int8_t *gains)
{
	struct eq_cfg next = {0};

	for (int i = 0; i < EQ_BANDS; i++) {
		next.band[i] = band_coefs(bands[i].type, bands[i].freq, gains[i]);
		next.active |= gains[i] != 0;
	}

	K_SPINLOCK(&lock) {
		pending = next;
		pending_set = true;
	}

	LOG_INF("Gains %d %d %d %d %d dB", gains[0], gains[1], gains[2], gains[3], gains[4]);
}

void eq_process(int32_t *samples, size_t frames)
{
	K_SPINLOCK(&lock) {
		if (pending_set) {
			/* State left over from before a bypass would play as a click */
			if (!cfg.active) {
				memset(state, 0, sizeof(state));
			}
			cfg = pending;
			pending_set = false;
		}
	}

	if (!cfg.active) {
		return;
	}

	for (size_t i = 0; i < frames * CHANNELS; i++) {
		float (*z)[2] = state[i % CHANNELS];
		float y = samples[i];

		for (int b = 0; b < EQ_BANDS; b++) {
			const struct coefs *c = &cfg.band[b];
			float x = y;

			y = c->b0 * x + z[b][0];
			z[b][0] = c->b1 * x - c->a1 * y + z[b][1];
			z[b][1] = c->b2 * x - c->a2 * y;
		}

		samples[i] = (int32_t)CLAMP(y, (float)INT32_MIN, SAMPLE_MAX);
	}
}
```

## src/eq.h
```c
#ifndef EQ_H_
#define EQ_H_

#include <stddef.h>
#include <stdint.h>

#define EQ_BANDS       5
#define EQ_GAIN_MAX_DB 6

/* Gains in dB for 60 Hz, 250 Hz, 1 kHz, 4 kHz and 12 kHz. All zero bypasses the EQ. */
void eq_set_gains(const int8_t *gains);

/* Filters interleaved 32-bit stereo samples in place */
void eq_process(int32_t *samples, size_t frames);

#endif /* EQ_H_ */
```

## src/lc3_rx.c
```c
#include "lc3_rx.h"

#include <stdlib.h>
#include <string.h>

#include <lc3.h>

#include <zephyr/kernel.h>
#include <zephyr/logging/log.h>
#include <zephyr/sys/util.h>

#include "audio_out.h"

LOG_MODULE_REGISTER(lc3_rx, LOG_LEVEL_INF);

#define CH_L    BIT(0)
#define CH_R    BIT(1)
#define CH_BOTH (CH_L | CH_R)

#define MAX_STREAMS 4
/* 10 ms is the longest LC3 frame */
#define MAX_FRAMES  (AUDIO_OUT_RATE_HZ / 100)

struct rx_item {
	struct lc3_rx_stream *s;
	struct net_buf *buf;
	uint32_t ts;
	bool valid;
};

K_MSGQ_DEFINE(rx_queue, sizeof(struct rx_item), CONFIG_BT_ISO_RX_BUF_COUNT, 4);
K_MUTEX_DEFINE(lock);

/* One decoder per output channel, so each keeps the history PLC relies on */
static lc3_decoder_mem_48k_t dec_mem[2];
static lc3_decoder_t dec[2];

static struct lc3_rx_stream *streams[MAX_STREAMS];
static uint8_t expected;

/* Stereo frame being assembled from the streams that share a timestamp */
static struct {
	int16_t pcm[MAX_FRAMES * 2];
	size_t frames;
	uint32_t ts;
	uint8_t have;
} frame;

static bool unicast_active(void)
{
	for (size_t i = 0; i < MAX_STREAMS; i++) {
		if (streams[i] != NULL && !streams[i]->broadcast) {
			return true;
		}
	}

	return false;
}

/* Broadcast audio is ignored while a phone streams to us directly */
static bool routed(const struct lc3_rx_stream *s)
{
	return s->started && (!s->broadcast || !unicast_active());
}

/*
 * Rebuilds the decoders for the streams that are routed now. This also resets
 * the decoders of streams already playing, which costs one frame of history.
 */
static void update_routing(void)
{
	expected = 0;

	for (size_t i = 0; i < MAX_STREAMS; i++) {
		struct lc3_rx_stream *s = streams[i];

		if (s == NULL || !routed(s)) {
			continue;
		}

		for (uint8_t c = 0; c < s->chan_cnt; c++) {
			int ch = (s->out[c] & CH_L) ? 0 : 1;

			dec[ch] = lc3_setup_decoder(s->frame_us, s->freq_hz, AUDIO_OUT_RATE_HZ,
						    &dec_mem[ch]);
			if (dec[ch] == NULL) {
				LOG_ERR("Decoder setup failed");
				continue;
			}

			expected |= s->out[c];
		}
	}

	frame.have = 0;
	audio_out_request(AUDIO_SRC_BLE, expected != 0);
}

static void copy_channel(int from, int to)
{
	for (size_t i = 0; i < frame.frames; i++) {
		frame.pcm[2 * i + to] = frame.pcm[2 * i + from];
	}
}

static void flush(void)
{
	if (frame.have == 0) {
		return;
	}

	/* A stream may carry only one side, play it on both */
	if (!(frame.have & CH_R)) {
		copy_channel(0, 1);
	} else if (!(frame.have & CH_L)) {
		copy_channel(1, 0);
	}

	audio_out_write(AUDIO_SRC_BLE, frame.pcm, frame.frames);
	frame.have = 0;
}

static void decode(const struct rx_item *item)
{
	const struct lc3_rx_stream *s = item->s;

	if (!routed(s)) {
		return;
	}

	for (uint8_t b = 0; b < s->blocks; b++) {
		uint32_t ts = item->ts + b * s->frame_us;

		if (frame.have && abs((int32_t)(ts - frame.ts)) > (int32_t)s->frame_us / 2) {
			flush();
		}

		frame.ts = ts;
		frame.frames = (size_t)AUDIO_OUT_RATE_HZ * s->frame_us / USEC_PER_SEC;

		for (uint8_t c = 0; c < s->chan_cnt; c++) {
			size_t offset = (b * s->chan_cnt + c) * s->octets;
			int ch = (s->out[c] & CH_L) ? 0 : 1;
			const void *data = NULL;

			if (item->valid && item->buf->len >= offset + s->octets) {
				data = item->buf->data + offset;
			}

			/* NULL data makes the decoder conceal the lost frame */
			lc3_decode(dec[ch], data, s->octets, LC3_PCM_FORMAT_S16, &frame.pcm[ch], 2);

			if (s->out[c] == CH_BOTH) {
				copy_channel(0, 1);
			}

			frame.have |= s->out[c];
		}

		if ((frame.have & expected) == expected) {
			flush();
		}
	}
}

static void decode_thread(void *p1, void *p2, void *p3)
{
	struct rx_item item;

	for (;;) {
		k_msgq_get(&rx_queue, &item, K_FOREVER);

		k_mutex_lock(&lock, K_FOREVER);
		decode(&item);
		k_mutex_unlock(&lock);

		net_buf_unref(item.buf);
	}
}

static uint8_t location_to_channel(uint32_t bit)
{
	switch (bit) {
	case BT_AUDIO_LOCATION_FRONT_LEFT:
		return CH_L;
	case BT_AUDIO_LOCATION_FRONT_RIGHT:
		return CH_R;
	default:
		return CH_BOTH;
	}
}

static int parse_config(struct lc3_rx_stream *s, const struct bt_audio_codec_cfg *cfg)
{
	enum bt_audio_location alloc;
	int ret;

	ret = bt_audio_codec_cfg_get_freq(cfg);
	if (ret < 0) {
		return ret;
	}
	s->freq_hz = bt_audio_codec_cfg_freq_to_freq_hz(ret);

	ret = bt_audio_codec_cfg_get_frame_dur(cfg);
	if (ret < 0) {
		return ret;
	}
	s->frame_us = bt_audio_codec_cfg_frame_dur_to_frame_dur_us(ret);

	ret = bt_audio_codec_cfg_get_octets_per_frame(cfg);
	if (ret < 0) {
		return ret;
	}
	s->octets = ret;

	ret = bt_audio_codec_cfg_get_frame_blocks_per_sdu(cfg, true);
	if (ret < 0) {
		return ret;
	}
	s->blocks = ret;

	ret = bt_audio_codec_cfg_get_chan_allocation(cfg, &alloc, true);
	if (ret < 0) {
		return ret;
	}

	if (alloc == BT_AUDIO_LOCATION_MONO_AUDIO) {
		s->chan_cnt = 1;
		s->out[0] = CH_BOTH;
		return 0;
	}

	if (__builtin_popcount(alloc) > ARRAY_SIZE(s->out)) {
		return -ENOTSUP;
	}

	/* LC3 channels are ordered by ascending location bit */
	s->chan_cnt = 0;
	for (uint32_t bit = BIT(0); bit != 0; bit <<= 1) {
		if (alloc & bit) {
			s->out[s->chan_cnt++] = location_to_channel(bit);
		}
	}

	return 0;
}

int lc3_rx_start(struct lc3_rx_stream *s, const struct bt_audio_codec_cfg *cfg)
{
	int slot = -1;
	int err;

	err = parse_config(s, cfg);
	if (err) {
		LOG_ERR("Unsupported codec config (%d)", err);
		return err;
	}

	LOG_INF("%s stream: %d Hz, %u us, %u octets, %u channel(s)",
		s->broadcast ? "Broadcast" : "Unicast", s->freq_hz, s->frame_us, s->octets,
		s->chan_cnt);

	k_mutex_lock(&lock, K_FOREVER);

	for (int i = 0; i < MAX_STREAMS; i++) {
		if (streams[i] == s) {
			slot = i;
			break;
		}

		if (streams[i] == NULL && slot < 0) {
			slot = i;
		}
	}

	if (slot >= 0) {
		streams[slot] = s;
		s->started = true;
		update_routing();
	}

	k_mutex_unlock(&lock);

	return slot >= 0 ? 0 : -ENOMEM;
}

void lc3_rx_stop(struct lc3_rx_stream *s)
{
	k_mutex_lock(&lock, K_FOREVER);

	for (int i = 0; i < MAX_STREAMS; i++) {
		if (streams[i] == s) {
			streams[i] = NULL;
		}
	}

	s->started = false;
	update_routing();

	k_mutex_unlock(&lock);
}

void lc3_rx_recv(struct lc3_rx_stream *s, const struct bt_iso_recv_info *info,
		 struct net_buf *buf)
{
	struct rx_item item = {
		.s = s,
		.valid = (info->flags & BT_ISO_FLAGS_VALID) != 0,
		.buf = net_buf_ref(buf),
	};

	/* Without a controller timestamp, derive one from the SDU counter */
	if (info->flags & BT_ISO_FLAGS_TS) {
		item.ts = info->ts;
	} else {
		item.ts = info->seq_num * s->frame_us * s->blocks;
	}

	if (k_msgq_put(&rx_queue, &item, K_NO_WAIT) != 0) {
		LOG_WRN("Decoder queue full");
		net_buf_unref(buf);
	}
}

K_THREAD_STACK_DEFINE(decode_stack, 4096);
static struct k_thread decoder;

int lc3_rx_init(void)
{
	k_thread_create(&decoder, decode_stack, K_THREAD_STACK_SIZEOF(decode_stack),
			decode_thread, NULL, NULL, NULL, K_PRIO_PREEMPT(2), K_FP_REGS, K_NO_WAIT);
	k_thread_name_set(&decoder, "lc3_rx");

	return 0;
}
```

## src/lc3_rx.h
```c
#ifndef LC3_RX_H_
#define LC3_RX_H_

#include <stdbool.h>
#include <stdint.h>

#include <zephyr/bluetooth/audio/audio.h>
#include <zephyr/bluetooth/iso.h>
#include <zephyr/net_buf.h>

/* One received LE Audio stream, unicast CIS or broadcast BIS */
struct lc3_rx_stream {
	bool broadcast;
	bool started;
	uint8_t chan_cnt;
	/* Output channels fed by each LC3 channel in the SDU, bit 0 = left, bit 1 = right */
	uint8_t out[2];
	uint8_t blocks;
	uint16_t octets;
	uint32_t frame_us;
	int freq_hz;
};

int lc3_rx_init(void);

int lc3_rx_start(struct lc3_rx_stream *s, const struct bt_audio_codec_cfg *cfg);

void lc3_rx_stop(struct lc3_rx_stream *s);

/* Called from the ISO receive callback, decoding happens on a separate thread */
void lc3_rx_recv(struct lc3_rx_stream *s, const struct bt_iso_recv_info *info,
		 struct net_buf *buf);

#endif /* LC3_RX_H_ */
```

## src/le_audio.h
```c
#ifndef LE_AUDIO_H_
#define LE_AUDIO_H_

#include <stdint.h>

int le_audio_init(void);

/* VCS volume, 0 when muted */
uint8_t le_audio_volume(void);

#endif /* LE_AUDIO_H_ */
```
